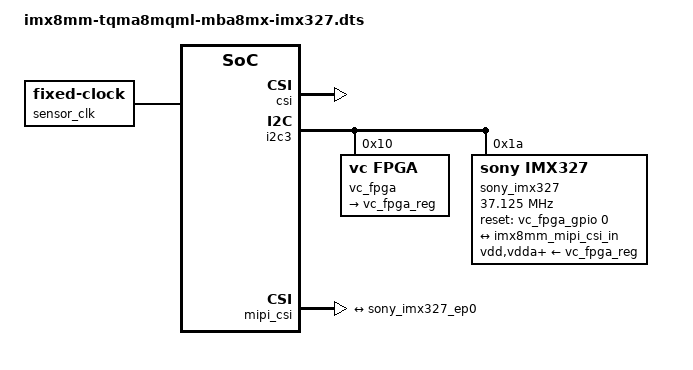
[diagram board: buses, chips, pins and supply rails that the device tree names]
// SPDX-License-Identifier: (GPL-2.0-or-later OR MIT)
/*
 * Copyright 2021 TQ-Systems GmbH
 */

#include <dt-bindings/gpio/gpio.h>

/dts-v1/;
/plugin/;

&{/} {
	compatible = "tq,imx8mm-tqma8mqml-mba8mx", "tq,imx8mm-tqma8mqml", "fsl,imx8mm";

	sensor_clk: sensor-clk {
		compatible = "fixed-clock";
		#clock-cells = <0>;
		clock-frequency = <37125000>;
	};
};

&csi {
       status = "okay";
};

&i2c3 {
	#address-cells = <1>;
	#size-cells = <0>;

	vc_fpga: fpga@10 {
		reg = <0x10>;
		compatible = "vc,fpga";

		vc_fpga_reg: regulator {
			regulator-name = "CAM_VCC";
		};

		vc_fpga_reset: reset {
			#reset-cells = <0>;
		};

		vc_fpga_gpio: gpio-chip {
			gpio-controller;
			#gpio-cells = <2>;
		};
	};

	sony_imx327: camera@1a {
		#address-cells = <0x1>;
		#size-cells = <0x0>;
		reg = <0x1a>;

		compatible = "sony,imx327", "sony,imx290";

		clock-names = "xclk";
		clocks = <&sensor_clk>;
		clock-frequency = <37125000>;

		vdd-supply = <&vc_fpga_reg>;

		vdda-supply = <&vc_fpga_reg>;
		vddd-supply = <&vc_fpga_reg>;
		vdddo-supply = <&vc_fpga_reg>;

		reset-gpios = <&vc_fpga_gpio 0 GPIO_ACTIVE_HIGH>;

		port@0 {
			reg = <0>;

			sony_imx327_ep0: endpoint {
				remote-endpoint = <&imx8mm_mipi_csi_in>;
				data-lanes = <1 2>;
				clock-lanes = <0>;
				clock-noncontinuous = <1>;
				link-frequencies = /bits/ 64 <445500000 297000000>;
			};
		};
	};
};

&mipi_csi {
       status = "okay";

       ports {
               #address-cells = <1>;
               #size-cells = <0>;

               port@0 {
                       reg = <0>;
                       imx8mm_mipi_csi_in: endpoint {
                               remote-endpoint = <&sony_imx327_ep0>;
                               data-lanes = <1 2>;
                       };
               };
       };
};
